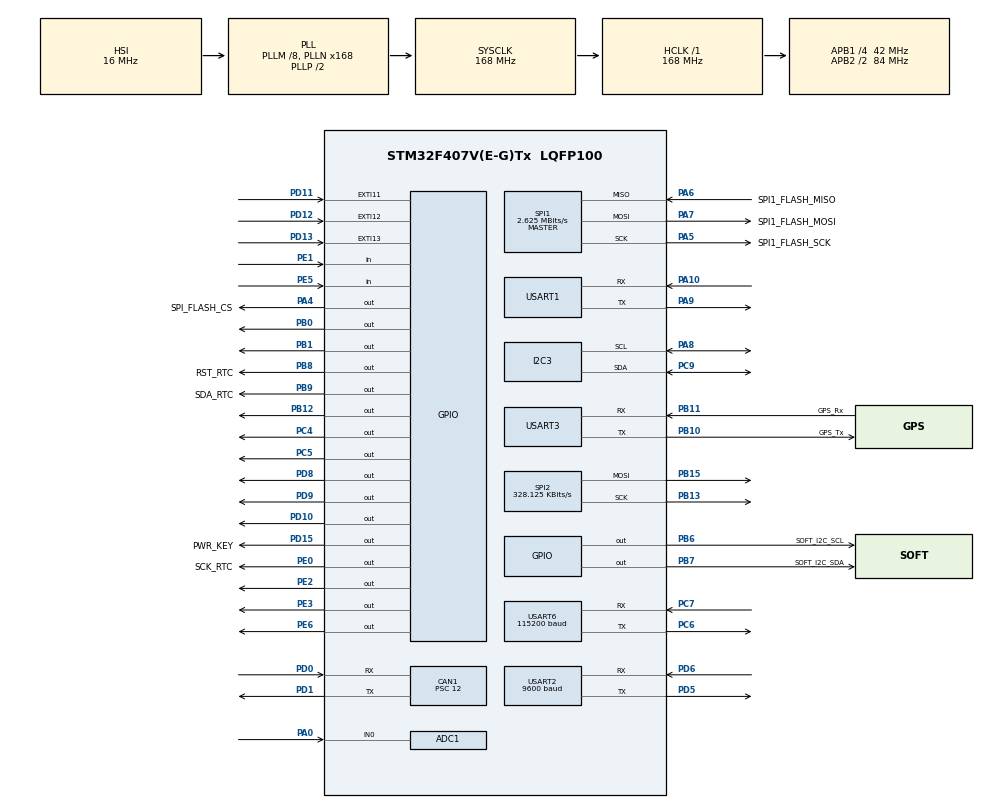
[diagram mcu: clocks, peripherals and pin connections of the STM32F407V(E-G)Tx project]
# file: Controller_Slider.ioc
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ADC1.Channel-0\#ChannelRegularConversion=ADC_CHANNEL_0
ADC1.NbrOfConversionFlag=1
ADC1.Rank-0\#ChannelRegularConversion=1
ADC1.SamplingTime-0\#ChannelRegularConversion=ADC_SAMPLETIME_3CYCLES
ADC1.master=1
CAN1.ABOM=ENABLE
CAN1.BS1=CAN_BS1_11TQ
CAN1.BS2=CAN_BS2_2TQ
CAN1.CalculateBaudRate=250000
CAN1.CalculateTimeBit=4000
CAN1.CalculateTimeQuantum=285.7142857142857
CAN1.Prescaler=12
Dma.Request0=USART3_RX
Dma.USART3_RX.0.Direction=DMA_PERIPH_TO_MEMORY
Dma.USART3_RX.0.FIFOMode=DMA_FIFOMODE_DISABLE
Dma.USART3_RX.0.Instance=DMA1_Stream1
Dma.USART3_RX.0.MemDataAlignment=DMA_MDATAALIGN_BYTE
Dma.USART3_RX.0.MemInc=DMA_MINC_ENABLE
Dma.USART3_RX.0.Mode=DMA_CIRCULAR
Dma.USART3_RX.0.PeriphDataAlignment=DMA_PDATAALIGN_BYTE
Dma.USART3_RX.0.PeriphInc=DMA_PINC_DISABLE
Dma.USART3_RX.0.Priority=DMA_PRIORITY_LOW
I2C3.I2C_Mode=I2C_Standard
IWDG.Prescaler=IWDG_PRESCALER_256
IWDG.Reload=467
Mcu.Family=STM32F4
Mcu.Name=STM32F407V(E-G)Tx
Mcu.Package=LQFP100
NVIC.CAN1_RX0_IRQn=true\:0\:0\:false\:false\:true\:true\:true\:true
NVIC.CAN1_RX1_IRQn=true\:0\:0\:false\:false\:true\:true\:true\:true
NVIC.DMA1_Stream1_IRQn=true\:0\:0\:false\:false\:true\:false\:true\:true
NVIC.EXTI15_10_IRQn=true\:1\:0\:true\:false\:true\:true\:true\:true
NVIC.PriorityGroup=NVIC_PRIORITYGROUP_4
NVIC.TIM2_IRQn=true\:0\:0\:false\:false\:true\:true\:true\:true
NVIC.USART2_IRQn=true\:0\:0\:false\:false\:true\:true\:true\:true
NVIC.USART6_IRQn=true\:0\:0\:false\:false\:true\:true\:true\:true
PA0-WKUP.Signal=ADCx_IN0
PA10.Mode=Asynchronous
PA10.Signal=USART1_RX
PA13.Mode=Serial_Wire
PA13.Signal=SYS_JTMS-SWDIO
PA14.Mode=Serial_Wire
PA14.Signal=SYS_JTCK-SWCLK
PA4.GPIO_Label=SPI_FLASH_CS
PA4.GPIO_Speed=GPIO_SPEED_FREQ_VERY_HIGH
PA4.Signal=GPIO_Output
PA5.GPIO_Label=SPI1_FLASH_SCK
PA5.Mode=Full_Duplex_Master
PA5.Signal=SPI1_SCK
PA6.GPIO_Label=SPI1_FLASH_MISO
PA6.Mode=Full_Duplex_Master
PA6.Signal=SPI1_MISO
PA7.GPIO_Label=SPI1_FLASH_MOSI
PA7.Mode=Full_Duplex_Master
PA7.Signal=SPI1_MOSI
PA8.Mode=I2C
PA8.Signal=I2C3_SCL
PA9.Mode=Asynchronous
PA9.Signal=USART1_TX
PB0.Signal=GPIO_Output
PB1.Signal=GPIO_Output
PB10.GPIO_Label=GPS_Tx
PB10.Mode=Asynchronous
PB10.Signal=USART3_TX
PB11.GPIO_Label=GPS_Rx
PB11.Mode=Asynchronous
PB11.Signal=USART3_RX
PB12.GPIO_Speed=GPIO_SPEED_FREQ_VERY_HIGH
PB12.Signal=GPIO_Output
PB13.Mode=TX_Only_Simplex_Unidirect_Master
PB13.Signal=SPI2_SCK
PB15.Mode=TX_Only_Simplex_Unidirect_Master
PB15.Signal=SPI2_MOSI
PB6.GPIO_Label=SOFT_I2C_SCL
PB6.GPIO_PuPd=GPIO_PULLUP
PB6.GPIO_Speed=GPIO_SPEED_FREQ_VERY_HIGH
PB6.Signal=GPIO_Output
PB7.GPIO_Label=SOFT_I2C_SDA
PB7.GPIO_PuPd=GPIO_PULLUP
PB7.GPIO_Speed=GPIO_SPEED_FREQ_VERY_HIGH
PB7.Signal=GPIO_Output
PB8.GPIO_Label=RST_RTC
PB8.GPIO_Speed=GPIO_SPEED_FREQ_VERY_HIGH
PB8.Signal=GPIO_Output
PB9.GPIO_Label=SDA_RTC
PB9.GPIO_Speed=GPIO_SPEED_FREQ_VERY_HIGH
PB9.Signal=GPIO_Output
PC4.GPIO_Speed=GPIO_SPEED_FREQ_VERY_HIGH
PC4.Signal=GPIO_Output
PC5.Signal=GPIO_Output
PC6.Mode=Asynchronous
PC6.Signal=USART6_TX
PC7.Mode=Asynchronous
PC7.Signal=USART6_RX
PC9.Mode=I2C
PC9.Signal=I2C3_SDA
PD0.Mode=CAN_Activate
PD0.Signal=CAN1_RX
PD1.Mode=CAN_Activate
PD1.Signal=CAN1_TX
PD10.Signal=GPIO_Output
PD11.GPIO_ModeDefaultEXTI=GPIO_MODE_IT_RISING_FALLING
PD11.Signal=GPXTI11
PD12.GPIO_ModeDefaultEXTI=GPIO_MODE_IT_RISING_FALLING
PD12.Signal=GPXTI12
PD13.GPIO_ModeDefaultEXTI=GPIO_MODE_IT_RISING_FALLING
PD13.Signal=GPXTI13
PD15.GPIO_Label=PWR_KEY
PD15.GPIO_Speed=GPIO_SPEED_FREQ_HIGH
PD15.Signal=GPIO_Output
PD5.Mode=Asynchronous
PD5.Signal=USART2_TX
PD6.Mode=Asynchronous
PD6.Signal=USART2_RX
PD8.GPIO_Speed=GPIO_SPEED_FREQ_VERY_HIGH
PD8.Signal=GPIO_Output
PD9.GPIO_Speed=GPIO_SPEED_FREQ_VERY_HIGH
PD9.Signal=GPIO_Output
PE0.GPIO_Label=SCK_RTC
PE0.GPIO_Speed=GPIO_SPEED_FREQ_HIGH
PE0.Signal=GPIO_Output
PE1.GPIO_PuPd=GPIO_PULLUP
PE1.Signal=GPIO_Input
PE2.Signal=GPIO_Output
PE3.Signal=GPIO_Output
PE5.GPIO_PuPd=GPIO_PULLUP
PE5.Signal=GPIO_Input
PE6.Signal=GPIO_Output
ProjectManager.HeapSize=0x200
ProjectManager.StackSize=0x400
ProjectManager.TargetToolchain=STM32CubeIDE
RCC.48MHZClocksFreq_Value=48000000
RCC.AHBFreq_Value=168000000
RCC.APB1CLKDivider=RCC_HCLK_DIV4
RCC.APB1Freq_Value=42000000
RCC.APB1TimFreq_Value=84000000
RCC.APB2CLKDivider=RCC_HCLK_DIV2
RCC.APB2Freq_Value=84000000
RCC.APB2TimFreq_Value=168000000
RCC.CortexFreq_Value=168000000
RCC.HCLKFreq_Value=168000000
RCC.HSE_VALUE=16000000
RCC.HSI_VALUE=16000000
RCC.LSE_VALUE=32768
RCC.PLLM=8
RCC.PLLN=168
RCC.PLLQ=7
RCC.SYSCLKFreq_VALUE=168000000
RCC.SYSCLKSource=RCC_SYSCLKSOURCE_PLLCLK
RCC.VCOOutputFreq_Value=336000000
SH.ADCx_IN0.0=ADC1_IN0,IN0
SPI1.BaudRatePrescaler=SPI_BAUDRATEPRESCALER_32
SPI1.CalculateBaudRate=2.625 MBits/s
SPI1.Direction=SPI_DIRECTION_2LINES
SPI1.Mode=SPI_MODE_MASTER
SPI1.VirtualType=VM_MASTER
SPI2.BaudRatePrescaler=SPI_BAUDRATEPRESCALER_128
SPI2.CalculateBaudRate=328.125 KBits/s
SPI2.Direction=SPI_DIRECTION_2LINES
SPI2.Mode=SPI_MODE_MASTER
SPI2.VirtualType=VM_MASTER
TIM2.Period=999
TIM2.Prescaler=83
USART1.VirtualMode=VM_ASYNC
USART2.BaudRate=9600
USART2.VirtualMode=VM_ASYNC
USART3.VirtualMode=VM_ASYNC
USART6.BaudRate=115200
USART6.VirtualMode=VM_ASYNC
VP_IWDG_VS_IWDG.Mode=IWDG_Activate
VP_TIM2_VS_ClockSourceINT.Mode=Internal
board=custom

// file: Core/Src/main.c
/* USER CODE BEGIN Header */
/**
  ******************************************************************************
  * @file           : main.c
  * @brief          : Main program body
  ******************************************************************************
  * @attention
  *
  * Copyright (c) 2025 STMicroelectronics.
  * All rights reserved.
  *
  * This software is licensed under terms that can be found in the LICENSE file
  * in the root directory of this software component.
  * If no LICENSE file comes with this software, it is provided AS-IS.
  *
  ******************************************************************************
  */
/* USER CODE END Header */
#include "main.h"

/* USER CODE BEGIN Includes */
#include "display_curtis.h"
#include "Led_Error.h"
#include "wdt.h"
#include "clock.h"
#include "extern_rom.h"
#include "dwt_delay.h"
#include "realtime.h"
#include "network.h"
#include "swconfig.h"
#include "sim.h"
#include "system_update.h"
#include "extern_flash.h"
#include "boat_log.h"
#include "modbus_slave_comp.h"
#include "modbus_rtu_interface.h"
#include "gnss_uart_dma.h"
#include "imd.h"
/* USER CODE END Includes */

ADC_HandleTypeDef hadc1;

CAN_HandleTypeDef hcan1;

I2C_HandleTypeDef hi2c3;

IWDG_HandleTypeDef hiwdg;

SPI_HandleTypeDef hspi1;
SPI_HandleTypeDef hspi2;

TIM_HandleTypeDef htim2;

UART_HandleTypeDef huart1;
UART_HandleTypeDef huart2;
UART_HandleTypeDef huart3;
UART_HandleTypeDef huart6;
DMA_HandleTypeDef hdma_usart3_rx;

void SystemClock_Config(void);
static void MX_GPIO_Init(void);
static void MX_DMA_Init(void);
static void MX_CAN1_Init(void);
static void MX_SPI2_Init(void);
static void MX_IWDG_Init(void);
static void MX_SPI1_Init(void);
static void MX_TIM2_Init(void);
static void MX_USART6_UART_Init(void);
static void MX_USART2_UART_Init(void);
static void MX_USART1_UART_Init(void);
static void MX_ADC1_Init(void);
static void MX_USART3_UART_Init(void);
static void MX_I2C3_Init(void);

/* USER CODE BEGIN 0 */

// Hàm debug in ra USB CDC
//void debug_print(const char* message) {
//  CDC_Transmit_FS((uint8_t*)message, strlen(message));
//}

/* USER CODE END 0 */

int main(void)
{

  /* MCU Configuration--------------------------------------------------------*/

  /* Reset of all peripherals, Initializes the Flash interface and the Systick. */
  HAL_Init();

  /* Configure the system clock */
  SystemClock_Config();

  /* USER CODE BEGIN SysInit */
  SystemUpdate_Init();
  HAL_Delay(200); // Delay sau khi khởi tạo hệ thống
  CyDelay_Init();
  /* USER CODE END SysInit */

  /* Initialize all configured peripherals */
  MX_GPIO_Init();
  MX_DMA_Init();
  MX_CAN1_Init();
  MX_SPI2_Init();
  MX_IWDG_Init();
  MX_SPI1_Init();
  MX_TIM2_Init();
  MX_USART6_UART_Init();
  MX_USART2_UART_Init();
  MX_USART1_UART_Init();
  MX_ADC1_Init();
  MX_USART3_UART_Init();
  MX_I2C3_Init();
  /* USER CODE BEGIN 2 */
  IMD_Init(&hi2c3);
  // Khởi tạo Modbus RTU Slave
  ModbusRTU_UartInit();
  ModbusSlaveComp_Init();
  ClockTimer_Init();
  ExRom_Init();
  Flash_Init();
  RealTime_Init();
  BoatEventLog_Init();
  Network_Init();
  Sim_Init();
  BMS_Jikong_Init(&hcan1);
  Can_Slider_Init(&hcan1);
  // Bắt đầu CAN sau khi tất cả filter đã được config
  if (HAL_CAN_Start(&hcan1) != HAL_OK) {
    Error_Handler();
  }
  ST7565_init();
  VCU_StateInit();
  MX_IWDG_Init();

// GNSS UART RX DMA-to-IDLE
#ifdef GNSS_UART_HANDLE
  (void)GNSS_UART_DMA_Start(GNSS_UART_HANDLE);
#endif
  /* USER CODE END 2 */

  /* Infinite loop */
  /* USER CODE BEGIN WHILE */
  while (1)
  {
#ifndef DISABLE_WDT
	Wdt_Reset();
#endif
	// Parse GPS
#ifdef GNSS_UART_HANDLE
    GNSS_UART_DMA_Task();
    BoatGPS_Task();
#endif
    ClockTimer_Run();
    Realtime_Run();
    Sim_Work();
    Network_Supervision();
    process_button();
    IMD_Task();
    VCU_StateTask();
    led_process();
    process_menu();
    SystemUpdate_Run();
    BoatEventUpdate();
    ModbusSlaveComp_Run();

    /* USER CODE END WHILE */

  }
}

void SystemClock_Config(void)
{
  RCC_OscInitTypeDef RCC_OscInitStruct = {0};
  RCC_ClkInitTypeDef RCC_ClkInitStruct = {0};

  /** Configure the main internal regulator output voltage
  */
  __HAL_RCC_PWR_CLK_ENABLE();
  __HAL_PWR_VOLTAGESCALING_CONFIG(PWR_REGULATOR_VOLTAGE_SCALE1);

  /** Initializes the RCC Oscillators according to the specified parameters
  * in the RCC_OscInitTypeDef structure.
  */
  RCC_OscInitStruct.OscillatorType = RCC_OSCILLATORTYPE_HSI|RCC_OSCILLATORTYPE_LSI;
  RCC_OscInitStruct.HSIState = RCC_HSI_ON;
  RCC_OscInitStruct.HSICalibrationValue = RCC_HSICALIBRATION_DEFAULT;
  RCC_OscInitStruct.LSIState = RCC_LSI_ON;
  RCC_OscInitStruct.PLL.PLLState = RCC_PLL_ON;
  RCC_OscInitStruct.PLL.PLLSource = RCC_PLLSOURCE_HSI;
  RCC_OscInitStruct.PLL.PLLM = 8;
  RCC_OscInitStruct.PLL.PLLN = 168;
  RCC_OscInitStruct.PLL.PLLP = RCC_PLLP_DIV2;
  RCC_OscInitStruct.PLL.PLLQ = 7;
  if (HAL_RCC_OscConfig(&RCC_OscInitStruct) != HAL_OK)
  {
    Error_Handler();
  }

  /** Initializes the CPU, AHB and APB buses clocks
  */
  RCC_ClkInitStruct.ClockType = RCC_CLOCKTYPE_HCLK|RCC_CLOCKTYPE_SYSCLK
                              |RCC_CLOCKTYPE_PCLK1|RCC_CLOCKTYPE_PCLK2;
  RCC_ClkInitStruct.SYSCLKSource = RCC_SYSCLKSOURCE_PLLCLK;
  RCC_ClkInitStruct.AHBCLKDivider = RCC_SYSCLK_DIV1;
  RCC_ClkInitStruct.APB1CLKDivider = RCC_HCLK_DIV4;
  RCC_ClkInitStruct.APB2CLKDivider = RCC_HCLK_DIV2;

  if (HAL_RCC_ClockConfig(&RCC_ClkInitStruct, FLASH_LATENCY_5) != HAL_OK)
  {
    Error_Handler();
  }
}

static void MX_ADC1_Init(void)
{

  ADC_ChannelConfTypeDef sConfig = {0};

  /** Configure the global features of the ADC (Clock, Resolution, Data Alignment and number of conversion)
  */
  hadc1.Instance = ADC1;
  hadc1.Init.ClockPrescaler = ADC_CLOCK_SYNC_PCLK_DIV4;
  hadc1.Init.Resolution = ADC_RESOLUTION_12B;
  hadc1.Init.ScanConvMode = DISABLE;
  hadc1.Init.ContinuousConvMode = DISABLE;
  hadc1.Init.DiscontinuousConvMode = DISABLE;
  hadc1.Init.ExternalTrigConvEdge = ADC_EXTERNALTRIGCONVEDGE_NONE;
  hadc1.Init.ExternalTrigConv = ADC_SOFTWARE_START;
  hadc1.Init.DataAlign = ADC_DATAALIGN_RIGHT;
  hadc1.Init.NbrOfConversion = 1;
  hadc1.Init.DMAContinuousRequests = DISABLE;
  hadc1.Init.EOCSelection = ADC_EOC_SINGLE_CONV;
  if (HAL_ADC_Init(&hadc1) != HAL_OK)
  {
    Error_Handler();
  }

  /** Configure for the selected ADC regular channel its corresponding rank in the sequencer and its sample time.
  */
  sConfig.Channel = ADC_CHANNEL_0;
  sConfig.Rank = 1;
  sConfig.SamplingTime = ADC_SAMPLETIME_3CYCLES;
  if (HAL_ADC_ConfigChannel(&hadc1, &sConfig) != HAL_OK)
  {
    Error_Handler();
  }

}

static void MX_CAN1_Init(void)
{

  hcan1.Instance = CAN1;
  hcan1.Init.Prescaler = 12;
  hcan1.Init.Mode = CAN_MODE_NORMAL;
  hcan1.Init.SyncJumpWidth = CAN_SJW_1TQ;
  hcan1.Init.TimeSeg1 = CAN_BS1_11TQ;
  hcan1.Init.TimeSeg2 = CAN_BS2_2TQ;
  hcan1.Init.TimeTriggeredMode = DISABLE;
  hcan1.Init.AutoBusOff = ENABLE;
  hcan1.Init.AutoWakeUp = DISABLE;
  hcan1.Init.AutoRetransmission = DISABLE;
  hcan1.Init.ReceiveFifoLocked = DISABLE;
  hcan1.Init.TransmitFifoPriority = DISABLE;
  if (HAL_CAN_Init(&hcan1) != HAL_OK)
  {
    Error_Handler();
  }

}

static void MX_I2C3_Init(void)
{

  hi2c3.Instance = I2C3;
  hi2c3.Init.ClockSpeed = 100000;
  hi2c3.Init.DutyCycle = I2C_DUTYCYCLE_2;
  hi2c3.Init.OwnAddress1 = 0;
  hi2c3.Init.AddressingMode = I2C_ADDRESSINGMODE_7BIT;
  hi2c3.Init.DualAddressMode = I2C_DUALADDRESS_DISABLE;
  hi2c3.Init.OwnAddress2 = 0;
  hi2c3.Init.GeneralCallMode = I2C_GENERALCALL_DISABLE;
  hi2c3.Init.NoStretchMode = I2C_NOSTRETCH_DISABLE;
  if (HAL_I2C_Init(&hi2c3) != HAL_OK)
  {
    Error_Handler();
  }

}

static void MX_IWDG_Init(void)
{

  hiwdg.Instance = IWDG;
  hiwdg.Init.Prescaler = IWDG_PRESCALER_256;
  hiwdg.Init.Reload = 467;
  if (HAL_IWDG_Init(&hiwdg) != HAL_OK)
  {
    Error_Handler();
  }

}

static void MX_SPI1_Init(void)
{

  /* SPI1 parameter configuration*/
  hspi1.Instance = SPI1;
  hspi1.Init.Mode = SPI_MODE_MASTER;
  hspi1.Init.Direction = SPI_DIRECTION_2LINES;
  hspi1.Init.DataSize = SPI_DATASIZE_8BIT;
  hspi1.Init.CLKPolarity = SPI_POLARITY_LOW;
  hspi1.Init.CLKPhase = SPI_PHASE_1EDGE;
  hspi1.Init.NSS = SPI_NSS_SOFT;
  hspi1.Init.BaudRatePrescaler = SPI_BAUDRATEPRESCALER_32;
  hspi1.Init.FirstBit = SPI_FIRSTBIT_MSB;
  hspi1.Init.TIMode = SPI_TIMODE_DISABLE;
  hspi1.Init.CRCCalculation = SPI_CRCCALCULATION_DISABLE;
  hspi1.Init.CRCPolynomial = 10;
  if (HAL_SPI_Init(&hspi1) != HAL_OK)
  {
    Error_Handler();
  }

}

static void MX_SPI2_Init(void)
{

  /* SPI2 parameter configuration*/
  hspi2.Instance = SPI2;
  hspi2.Init.Mode = SPI_MODE_MASTER;
  hspi2.Init.Direction = SPI_DIRECTION_2LINES;
  hspi2.Init.DataSize = SPI_DATASIZE_8BIT;
  hspi2.Init.CLKPolarity = SPI_POLARITY_LOW;
  hspi2.Init.CLKPhase = SPI_PHASE_1EDGE;
  hspi2.Init.NSS = SPI_NSS_SOFT;
  hspi2.Init.BaudRatePrescaler = SPI_BAUDRATEPRESCALER_128;
  hspi2.Init.FirstBit = SPI_FIRSTBIT_MSB;
  hspi2.Init.TIMode = SPI_TIMODE_DISABLE;
  hspi2.Init.CRCCalculation = SPI_CRCCALCULATION_DISABLE;
  hspi2.Init.CRCPolynomial = 10;
  if (HAL_SPI_Init(&hspi2) != HAL_OK)
  {
    Error_Handler();
  }

}

static void MX_TIM2_Init(void)
{

  TIM_ClockConfigTypeDef sClockSourceConfig = {0};
  TIM_MasterConfigTypeDef sMasterConfig = {0};

  htim2.Instance = TIM2;
  htim2.Init.Prescaler = 83;
  htim2.Init.CounterMode = TIM_COUNTERMODE_UP;
  htim2.Init.Period = 999;
  htim2.Init.ClockDivision = TIM_CLOCKDIVISION_DIV1;
  htim2.Init.AutoReloadPreload = TIM_AUTORELOAD_PRELOAD_DISABLE;
  if (HAL_TIM_Base_Init(&htim2) != HAL_OK)
  {
    Error_Handler();
  }
  sClockSourceConfig.ClockSource = TIM_CLOCKSOURCE_INTERNAL;
  if (HAL_TIM_ConfigClockSource(&htim2, &sClockSourceConfig) != HAL_OK)
  {
    Error_Handler();
  }
  sMasterConfig.MasterOutputTrigger = TIM_TRGO_RESET;
  sMasterConfig.MasterSlaveMode = TIM_MASTERSLAVEMODE_DISABLE;
  if (HAL_TIMEx_MasterConfigSynchronization(&htim2, &sMasterConfig) != HAL_OK)
  {
    Error_Handler();
  }

}

static void MX_USART1_UART_Init(void)
{

  huart1.Instance = USART1;
  huart1.Init.BaudRate = 115200;
  huart1.Init.WordLength = UART_WORDLENGTH_8B;
  huart1.Init.StopBits = UART_STOPBITS_1;
  huart1.Init.Parity = UART_PARITY_NONE;
  huart1.Init.Mode = UART_MODE_TX_RX;
  huart1.Init.HwFlowCtl = UART_HWCONTROL_NONE;
  huart1.Init.OverSampling = UART_OVERSAMPLING_16;
  if (HAL_UART_Init(&huart1) != HAL_OK)
  {
    Error_Handler();
  }

}

static void MX_USART2_UART_Init(void)
{

  huart2.Instance = USART2;
  huart2.Init.BaudRate = 9600;
  huart2.Init.WordLength = UART_WORDLENGTH_8B;
  huart2.Init.StopBits = UART_STOPBITS_1;
  huart2.Init.Parity = UART_PARITY_NONE;
  huart2.Init.Mode = UART_MODE_TX_RX;
  huart2.Init.HwFlowCtl = UART_HWCONTROL_NONE;
  huart2.Init.OverSampling = UART_OVERSAMPLING_16;
  if (HAL_UART_Init(&huart2) != HAL_OK)
  {
    Error_Handler();
  }

}

static void MX_USART3_UART_Init(void)
{

  huart3.Instance = USART3;
  huart3.Init.BaudRate = 115200;
  huart3.Init.WordLength = UART_WORDLENGTH_8B;
  huart3.Init.StopBits = UART_STOPBITS_1;
  huart3.Init.Parity = UART_PARITY_NONE;
  huart3.Init.Mode = UART_MODE_TX_RX;
  huart3.Init.HwFlowCtl = UART_HWCONTROL_NONE;
  huart3.Init.OverSampling = UART_OVERSAMPLING_16;
  if (HAL_UART_Init(&huart3) != HAL_OK)
  {
    Error_Handler();
  }

}

static void MX_USART6_UART_Init(void)
{

  huart6.Instance = USART6;
  huart6.Init.BaudRate = 115200;
  huart6.Init.WordLength = UART_WORDLENGTH_8B;
  huart6.Init.StopBits = UART_STOPBITS_1;
  huart6.Init.Parity = UART_PARITY_NONE;
  huart6.Init.Mode = UART_MODE_TX_RX;
  huart6.Init.HwFlowCtl = UART_HWCONTROL_NONE;
  huart6.Init.OverSampling = UART_OVERSAMPLING_16;
  if (HAL_UART_Init(&huart6) != HAL_OK)
  {
    Error_Handler();
  }

}

static void MX_DMA_Init(void)
{

  /* DMA controller clock enable */
  __HAL_RCC_DMA1_CLK_ENABLE();

  /* DMA interrupt init */
  /* DMA1_Stream1_IRQn interrupt configuration */
  HAL_NVIC_SetPriority(DMA1_Stream1_IRQn, 0, 0);
  HAL_NVIC_EnableIRQ(DMA1_Stream1_IRQn);

}

static void MX_GPIO_Init(void)
{
  GPIO_InitTypeDef GPIO_InitStruct = {0};

  /* GPIO Ports Clock Enable */
  __HAL_RCC_GPIOE_CLK_ENABLE();
  __HAL_RCC_GPIOA_CLK_ENABLE();
  __HAL_RCC_GPIOC_CLK_ENABLE();
  __HAL_RCC_GPIOB_CLK_ENABLE();
  __HAL_RCC_GPIOD_CLK_ENABLE();

  /*Configure GPIO pin Output Level */
  HAL_GPIO_WritePin(GPIOE, GPIO_PIN_2|GPIO_PIN_3|GPIO_PIN_6|SCK_RTC_Pin, GPIO_PIN_RESET);

  /*Configure GPIO pin Output Level */
  HAL_GPIO_WritePin(SPI_FLASH_CS_GPIO_Port, SPI_FLASH_CS_Pin, GPIO_PIN_RESET);

  /*Configure GPIO pin Output Level */
  HAL_GPIO_WritePin(GPIOC, GPIO_PIN_4|GPIO_PIN_5, GPIO_PIN_RESET);

  /*Configure GPIO pin Output Level */
  HAL_GPIO_WritePin(GPIOB, GPIO_PIN_0|GPIO_PIN_1|GPIO_PIN_12|SOFT_I2C_SCL_Pin
                          |SOFT_I2C_SDA_Pin|RST_RTC_Pin|SDA_RTC_Pin, GPIO_PIN_RESET);

  /*Configure GPIO pin Output Level */
  HAL_GPIO_WritePin(GPIOD, GPIO_PIN_8|GPIO_PIN_9|GPIO_PIN_10|PWR_KEY_Pin, GPIO_PIN_RESET);

  /*Configure GPIO pins : PE2 PE3 PE6 */
  GPIO_InitStruct.Pin = GPIO_PIN_2|GPIO_PIN_3|GPIO_PIN_6;
  GPIO_InitStruct.Mode = GPIO_MODE_OUTPUT_PP;
  GPIO_InitStruct.Pull = GPIO_NOPULL;
  GPIO_InitStruct.Speed = GPIO_SPEED_FREQ_LOW;
  HAL_GPIO_Init(GPIOE, &GPIO_InitStruct);

  /*Configure GPIO pins : PE5 PE1 */
  GPIO_InitStruct.Pin = GPIO_PIN_5|GPIO_PIN_1;
  GPIO_InitStruct.Mode = GPIO_MODE_INPUT;
  GPIO_InitStruct.Pull = GPIO_PULLUP;
  HAL_GPIO_Init(GPIOE, &GPIO_InitStruct);

  /*Configure GPIO pin : SPI_FLASH_CS_Pin */
  GPIO_InitStruct.Pin = SPI_FLASH_CS_Pin;
  GPIO_InitStruct.Mode = GPIO_MODE_OUTPUT_PP;
  GPIO_InitStruct.Pull = GPIO_NOPULL;
  GPIO_InitStruct.Speed = GPIO_SPEED_FREQ_VERY_HIGH;
  HAL_GPIO_Init(SPI_FLASH_CS_GPIO_Port, &GPIO_InitStruct);

  /*Configure GPIO pin : PC4 */
  GPIO_InitStruct.Pin = GPIO_PIN_4;
  GPIO_InitStruct.Mode = GPIO_MODE_OUTPUT_PP;
  GPIO_InitStruct.Pull = GPIO_NOPULL;
  GPIO_InitStruct.Speed = GPIO_SPEED_FREQ_VERY_HIGH;
  HAL_GPIO_Init(GPIOC, &GPIO_InitStruct);

  /*Configure GPIO pin : PC5 */
  GPIO_InitStruct.Pin = GPIO_PIN_5;
  GPIO_InitStruct.Mode = GPIO_MODE_OUTPUT_PP;
  GPIO_InitStruct.Pull = GPIO_NOPULL;
  GPIO_InitStruct.Speed = GPIO_SPEED_FREQ_LOW;
  HAL_GPIO_Init(GPIOC, &GPIO_InitStruct);

  /*Configure GPIO pins : PB0 PB1 */
  GPIO_InitStruct.Pin = GPIO_PIN_0|GPIO_PIN_1;
  GPIO_InitStruct.Mode = GPIO_MODE_OUTPUT_PP;
  GPIO_InitStruct.Pull = GPIO_NOPULL;
  GPIO_InitStruct.Speed = GPIO_SPEED_FREQ_LOW;
  HAL_GPIO_Init(GPIOB, &GPIO_InitStruct);

  /*Configure GPIO pins : PB12 RST_RTC_Pin SDA_RTC_Pin */
  GPIO_InitStruct.Pin = GPIO_PIN_12|RST_RTC_Pin|SDA_RTC_Pin;
  GPIO_InitStruct.Mode = GPIO_MODE_OUTPUT_PP;
  GPIO_InitStruct.Pull = GPIO_NOPULL;
  GPIO_InitStruct.Speed = GPIO_SPEED_FREQ_VERY_HIGH;
  HAL_GPIO_Init(GPIOB, &GPIO_InitStruct);

  /*Configure GPIO pins : PD8 PD9 */
  GPIO_InitStruct.Pin = GPIO_PIN_8|GPIO_PIN_9;
  GPIO_InitStruct.Mode = GPIO_MODE_OUTPUT_PP;
  GPIO_InitStruct.Pull = GPIO_NOPULL;
  GPIO_InitStruct.Speed = GPIO_SPEED_FREQ_VERY_HIGH;
  HAL_GPIO_Init(GPIOD, &GPIO_InitStruct);

  /*Configure GPIO pin : PD10 */
  GPIO_InitStruct.Pin = GPIO_PIN_10;
  GPIO_InitStruct.Mode = GPIO_MODE_OUTPUT_PP;
  GPIO_InitStruct.Pull = GPIO_NOPULL;
  GPIO_InitStruct.Speed = GPIO_SPEED_FREQ_LOW;
  HAL_GPIO_Init(GPIOD, &GPIO_InitStruct);

  /*Configure GPIO pins : PD11 PD12 PD13 */
  GPIO_InitStruct.Pin = GPIO_PIN_11|GPIO_PIN_12|GPIO_PIN_13;
  GPIO_InitStruct.Mode = GPIO_MODE_IT_RISING_FALLING;
  GPIO_InitStruct.Pull = GPIO_NOPULL;
  HAL_GPIO_Init(GPIOD, &GPIO_InitStruct);

  /*Configure GPIO pin : PWR_KEY_Pin */
  GPIO_InitStruct.Pin = PWR_KEY_Pin;
  GPIO_InitStruct.Mode = GPIO_MODE_OUTPUT_PP;
  GPIO_InitStruct.Pull = GPIO_NOPULL;
  GPIO_InitStruct.Speed = GPIO_SPEED_FREQ_HIGH;
  HAL_GPIO_Init(PWR_KEY_GPIO_Port, &GPIO_InitStruct);

  /*Configure GPIO pins : SOFT_I2C_SCL_Pin SOFT_I2C_SDA_Pin */
  GPIO_InitStruct.Pin = SOFT_I2C_SCL_Pin|SOFT_I2C_SDA_Pin;
  GPIO_InitStruct.Mode = GPIO_MODE_OUTPUT_PP;
  GPIO_InitStruct.Pull = GPIO_PULLUP;
  GPIO_InitStruct.Speed = GPIO_SPEED_FREQ_VERY_HIGH;
  HAL_GPIO_Init(GPIOB, &GPIO_InitStruct);

  /*Configure GPIO pin : SCK_RTC_Pin */
  GPIO_InitStruct.Pin = SCK_RTC_Pin;
  GPIO_InitStruct.Mode = GPIO_MODE_OUTPUT_PP;
  GPIO_InitStruct.Pull = GPIO_NOPULL;
  GPIO_InitStruct.Speed = GPIO_SPEED_FREQ_HIGH;
  HAL_GPIO_Init(SCK_RTC_GPIO_Port, &GPIO_InitStruct);

  /* EXTI interrupt init*/
  HAL_NVIC_SetPriority(EXTI15_10_IRQn, 1, 0);
  HAL_NVIC_EnableIRQ(EXTI15_10_IRQn);

}

/* USER CODE BEGIN 4 */
// GPIO interrupt callback function
void HAL_GPIO_EXTI_Callback(uint16_t GPIO_Pin) {
  uint32_t current_time = HAL_GetTick();

  //debug_print("*** GPIO INTERRUPT TRIGGERED ***\r\n");

  switch (GPIO_Pin) {
      case GPIO_PIN_13: // DOWN button
          if (HAL_GPIO_ReadPin(GPIOD, GPIO_PIN_13) == GPIO_PIN_RESET) {
              // Button pressed (LOW)
              button_down_time = current_time;
              button_down_pressed = 1;
          } else {
              // Button released (HIGH)
              button_down_pressed = 0;
          }
          break;

      case GPIO_PIN_12: // ENTER button
          if (HAL_GPIO_ReadPin(GPIOD, GPIO_PIN_12) == GPIO_PIN_RESET) {
              // Button pressed (LOW)
              button_enter_time = current_time;
              button_enter_pressed = 1;
          } else {
              // Button released (HIGH)
              button_enter_pressed = 0;
          }
          break;

      case GPIO_PIN_11: // UP button
          if (HAL_GPIO_ReadPin(GPIOD, GPIO_PIN_11) == GPIO_PIN_RESET) {
              // Button pressed (LOW)
              button_up_time = current_time;
              button_up_pressed = 1;
          } else {
              // Button released (HIGH)
              button_up_pressed = 0;
          }
          break;

      default:
          break;
  }
}
/* USER CODE END 4 */

void Error_Handler(void)
{
  __disable_irq();
  while (1)
  {
  }
}
